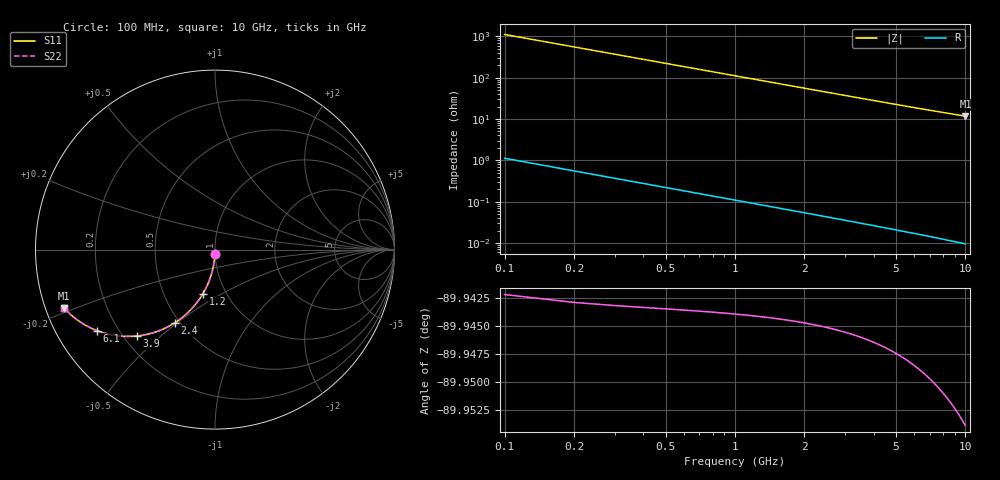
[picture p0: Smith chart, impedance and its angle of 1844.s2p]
# Hz S RI R 50.00
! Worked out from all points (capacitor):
!   100 points, 100 MHz to 10 GHz, reference 50 ohm
!   read as one part in shunt: C = 1.43 pF near 100 MHz
!   lowest |Z| = 11.8 ohm at 10 GHz (marker M1)
!   S11 on the Smith chart (normalised r, x): 100 MHz: 1.00, -0.04; 1.2 GHz: 0.78, -0.41; 2.4 GHz: 0.47, -0.49; 3.9 GHz: 0.25, -0.42; 6.1 GHz: 0.12, -0.31; 10 GHz: 0.05, -0.19
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1e8  -0.000455 -0.0221  0.9994 -0.0228  0.9994 -0.0228  -0.000455 -0.0221
2e8  -0.00198 -0.044  0.9979 -0.0455  0.9979 -0.0455  -0.00198 -0.044
3e8  -0.0045 -0.0659  0.9954 -0.068  0.9954 -0.068  -0.0045 -0.0659
4e8  -0.008 -0.0876  0.9919 -0.0904  0.9919 -0.0904  -0.008 -0.0876
5e8  -0.0125 -0.109  0.9874 -0.1125  0.9874 -0.1125  -0.0125 -0.109
6e8  -0.0178 -0.13  0.982 -0.1343  0.982 -0.1343  -0.0178 -0.13
7e8  -0.0241 -0.1507  0.9757 -0.1557  0.9757 -0.1557  -0.0241 -0.1507
9e8  -0.0393 -0.1907  0.9606 -0.1972  0.9606 -0.1972  -0.0393 -0.1907
1.2e9  -0.0678 -0.2467  0.9321 -0.2553  0.9321 -0.2553  -0.0678 -0.2467
1.5e9  -0.102 -0.2969  0.8978 -0.3076  0.8978 -0.3076  -0.102 -0.2969
1.8e9  -0.1406 -0.3408  0.8592 -0.3537  0.8592 -0.3537  -0.1406 -0.3408
2.1e9  -0.1822 -0.3781  0.8175 -0.3932  0.8175 -0.3932  -0.1822 -0.3781
2.4e9  -0.2255 -0.4089  0.7742 -0.4262  0.7742 -0.4262  -0.2255 -0.4089
2.9e9  -0.2986 -0.4468  0.701 -0.4677  0.701 -0.4677  -0.2986 -0.4468
3.4e9  -0.3696 -0.47  0.63 -0.4945  0.63 -0.4945  -0.3696 -0.47
3.9e9  -0.4359 -0.4813  0.5635 -0.5095  0.5635 -0.5095  -0.4359 -0.4813
5.1e9  -0.5706 -0.4758  0.4285 -0.513  0.4285 -0.513  -0.5706 -0.4758
6.1e9  -0.6565 -0.4517  0.3423 -0.4966  0.3423 -0.4966  -0.6565 -0.4517
6.7e9  -0.6983 -0.4334  0.3003 -0.483  0.3003 -0.483  -0.6983 -0.4334
7.5e9  -0.7446 -0.4072  0.2537 -0.463  0.2537 -0.463  -0.7446 -0.4072
8.4e9  -0.7862 -0.3772  0.2116 -0.4401  0.2116 -0.4401  -0.7862 -0.3772
1e10  -0.8406 -0.3261  0.1564 -0.4021  0.1564 -0.4021  -0.8406 -0.3261
